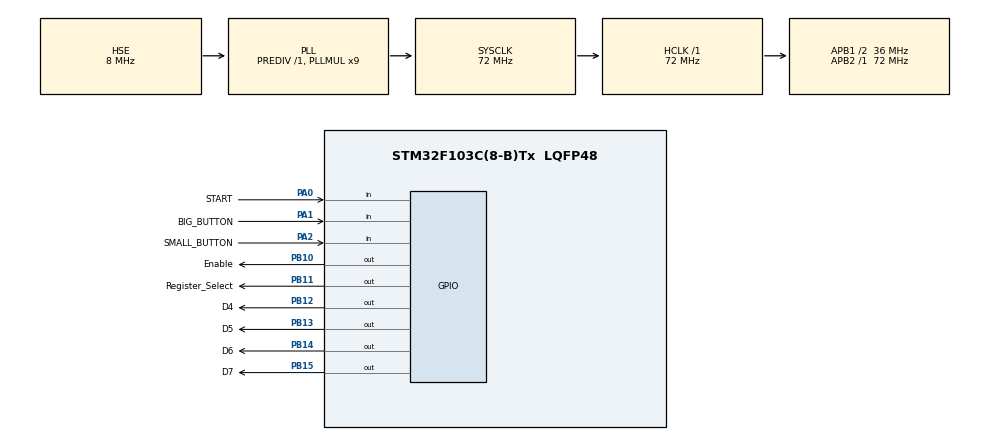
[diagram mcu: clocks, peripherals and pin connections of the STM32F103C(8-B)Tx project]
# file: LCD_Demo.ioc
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Mcu.Family=STM32F1
Mcu.Name=STM32F103C(8-B)Tx
Mcu.Package=LQFP48
NVIC.PriorityGroup=NVIC_PRIORITYGROUP_4
PA0-WKUP.GPIO_Label=START
PA0-WKUP.Signal=GPIO_Input
PA1.GPIO_Label=BIG_BUTTON
PA1.Signal=GPIO_Input
PA13.Mode=Serial_Wire
PA13.Signal=SYS_JTMS-SWDIO
PA14.Mode=Serial_Wire
PA14.Signal=SYS_JTCK-SWCLK
PA2.GPIO_Label=SMALL_BUTTON
PA2.Signal=GPIO_Input
PB10.GPIO_Label=Enable
PB10.Signal=GPIO_Output
PB11.GPIO_Label=Register_Select
PB11.Signal=GPIO_Output
PB12.GPIO_Label=D4
PB12.Signal=GPIO_Output
PB13.GPIO_Label=D5
PB13.Signal=GPIO_Output
PB14.GPIO_Label=D6
PB14.Signal=GPIO_Output
PB15.GPIO_Label=D7
PB15.Signal=GPIO_Output
PD0-OSC_IN.Mode=HSE-External-Oscillator
PD0-OSC_IN.Signal=RCC_OSC_IN
PD1-OSC_OUT.Mode=HSE-External-Oscillator
PD1-OSC_OUT.Signal=RCC_OSC_OUT
ProjectManager.HeapSize=0x200
ProjectManager.StackSize=0x400
ProjectManager.TargetToolchain=EWARM V8.32
RCC.AHBFreq_Value=72000000
RCC.APB1CLKDivider=RCC_HCLK_DIV2
RCC.APB1Freq_Value=36000000
RCC.APB1TimFreq_Value=72000000
RCC.APB2Freq_Value=72000000
RCC.APB2TimFreq_Value=72000000
RCC.HCLKFreq_Value=72000000
RCC.PLLMUL=RCC_PLL_MUL9
RCC.PLLSourceVirtual=RCC_PLLSOURCE_HSE
RCC.SYSCLKFreq_VALUE=72000000
RCC.SYSCLKSource=RCC_SYSCLKSOURCE_PLLCLK
RCC.USBFreq_Value=72000000
board=custom

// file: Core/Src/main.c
/* USER CODE BEGIN Header */
/**
  ******************************************************************************
  * @file           : main.c
  * @brief          : Main program body
  ******************************************************************************
  * @attention
  *
  * Copyright (c) 2026 STMicroelectronics.
  * All rights reserved.
  *
  * This software is licensed under terms that can be found in the LICENSE file
  * in the root directory of this software component.
  * If no LICENSE file comes with this software, it is provided AS-IS.
  *
  ******************************************************************************
  */
/* USER CODE END Header */
#include "main.h"

/* USER CODE BEGIN PV */

typedef enum
{
    SC_WELCOME,
    SC_INTRO,
    SC_SECRET,
    SC_PLAY_Q,
    SC_PLAY_BIG,
    SC_PLAY_SMALL,
    SC_FRIEND_Q,
    SC_FRIEND_A,
    SC_FRIEND_B,
    SC_FEEL_Q,
    SC_FEEL_A,
    SC_FEEL_B,
    SC_PROV_Q,
    SC_PROV_A,
    SC_PROV_B,
    SC_LOVE_Q,
    SC_LOVE_A,
    SC_LOVE_B,
    SC_GROW_Q,
    SC_GROW_A,
    SC_GROW_B,
    SC_LETTER_1,
    SC_LETTER_2,
    SC_LETTER_3,
    SC_ENDING,
    SC_COUNT
} AppScreen;

typedef struct
{
    const char *line1;
    const char *line2;
    AppScreen on_start;
    AppScreen on_big;
    AppScreen on_small;
} StoryScene;

static AppScreen current_screen = SC_WELCOME;
static int16_t rendered_screen = -1;

/* USER CODE END PV */

void SystemClock_Config(void);
static void MX_GPIO_Init(void);

/* USER CODE BEGIN PFP */

static void App_Init(void);
static void App_Update(void);

/* USER CODE END PFP */

/* USER CODE BEGIN 0 */

/* ================= LCD 1602 DRIVER =================
   Interface : 4-bit
   RS        : Register_Select_Pin
   E         : Enable_Pin
   D4-D7     : D4_Pin to D7_Pin
   =================================================== */

static void LCD_PulseEnable(void)
{
    HAL_GPIO_WritePin(GPIOB, Enable_Pin, GPIO_PIN_SET);
    HAL_Delay(1);

    HAL_GPIO_WritePin(GPIOB, Enable_Pin, GPIO_PIN_RESET);
    HAL_Delay(1);
}

static void LCD_WriteNibble(uint8_t nibble)
{
    HAL_GPIO_WritePin(GPIOB, D4_Pin,
        (nibble & 0x01U) ? GPIO_PIN_SET : GPIO_PIN_RESET);

    HAL_GPIO_WritePin(GPIOB, D5_Pin,
        (nibble & 0x02U) ? GPIO_PIN_SET : GPIO_PIN_RESET);

    HAL_GPIO_WritePin(GPIOB, D6_Pin,
        (nibble & 0x04U) ? GPIO_PIN_SET : GPIO_PIN_RESET);

    HAL_GPIO_WritePin(GPIOB, D7_Pin,
        (nibble & 0x08U) ? GPIO_PIN_SET : GPIO_PIN_RESET);

    LCD_PulseEnable();
}

static void LCD_WriteByte(uint8_t value, uint8_t is_data)
{
    HAL_GPIO_WritePin(GPIOB, Register_Select_Pin,
        is_data ? GPIO_PIN_SET : GPIO_PIN_RESET);

    LCD_WriteNibble((value >> 4U) & 0x0FU);
    LCD_WriteNibble(value & 0x0FU);
}

static void LCD_Command(uint8_t command)
{
    LCD_WriteByte(command, 0U);

    if (command == 0x01U || command == 0x02U)
    {
        HAL_Delay(2);
    }
}

static void LCD_Data(uint8_t data)
{
    LCD_WriteByte(data, 1U);
}

static void LCD_Init(void)
{
    HAL_Delay(50);

    HAL_GPIO_WritePin(GPIOB, Enable_Pin, GPIO_PIN_RESET);
    HAL_GPIO_WritePin(GPIOB, Register_Select_Pin, GPIO_PIN_RESET);

    /* HD44780 initialisation sequence */
    LCD_WriteNibble(0x03U);
    HAL_Delay(5);

    LCD_WriteNibble(0x03U);
    HAL_Delay(2);

    LCD_WriteNibble(0x03U);
    HAL_Delay(2);

    LCD_WriteNibble(0x02U);

    /* 4-bit mode, 2 lines, 5x8 font */
    LCD_Command(0x28U);

    /* Display ON, cursor OFF, blink OFF */
    LCD_Command(0x0CU);

    /* Cursor increments, display does not shift */
    LCD_Command(0x06U);

    /* Clear display */
    LCD_Command(0x01U);
}

static void LCD_SetCursor(uint8_t column, uint8_t row)
{
    uint8_t address = (row == 0U) ? 0x00U : 0x40U;

    if (column > 15U)
        column = 15U;

    LCD_Command(0x80U | (address + column));
}

static void LCD_Print(const char *text)
{
    while (*text != '\0')
    {
        LCD_Data((uint8_t)*text++);
    }
}

static void LCD_PrintLine(uint8_t row, const char *text)
{
    uint8_t count = 0U;

    LCD_SetCursor(0U, row);

    while (*text != '\0' && count < 16U)
    {
        LCD_Data((uint8_t)*text++);
        count++;
    }

    while (count < 16U)
    {
        LCD_Data(' ');
        count++;
    }
}

static void LCD_ShowSlide(const char *title,
                          const char *subtitle,
                          uint32_t duration_ms)
{
    LCD_PrintLine(0U, title);
    LCD_PrintLine(1U, subtitle);

    HAL_Delay(duration_ms);
}

/* USER CODE END 0 */

int main(void)
{

  /* MCU Configuration--------------------------------------------------------*/

  /* Reset of all peripherals, Initializes the Flash interface and the Systick. */
  HAL_Init();

  /* Configure the system clock */
  SystemClock_Config();

  /* Initialize all configured peripherals */
  MX_GPIO_Init();

/* USER CODE BEGIN 2 */

LCD_Init();
App_Init();

/* USER CODE END 2 */

  /* Infinite loop */
  while (1)
  {

    /* USER CODE BEGIN 3 */
    App_Update();
  }
  /* USER CODE END 3 */
}

void SystemClock_Config(void)
{
  RCC_OscInitTypeDef RCC_OscInitStruct = {0};
  RCC_ClkInitTypeDef RCC_ClkInitStruct = {0};

  /** Initializes the RCC Oscillators according to the specified parameters
  * in the RCC_OscInitTypeDef structure.
  */
  RCC_OscInitStruct.OscillatorType = RCC_OSCILLATORTYPE_HSE;
  RCC_OscInitStruct.HSEState = RCC_HSE_ON;
  RCC_OscInitStruct.HSEPredivValue = RCC_HSE_PREDIV_DIV1;
  RCC_OscInitStruct.HSIState = RCC_HSI_ON;
  RCC_OscInitStruct.PLL.PLLState = RCC_PLL_ON;
  RCC_OscInitStruct.PLL.PLLSource = RCC_PLLSOURCE_HSE;
  RCC_OscInitStruct.PLL.PLLMUL = RCC_PLL_MUL9;
  if (HAL_RCC_OscConfig(&RCC_OscInitStruct) != HAL_OK)
  {
    Error_Handler();
  }

  /** Initializes the CPU, AHB and APB buses clocks
  */
  RCC_ClkInitStruct.ClockType = RCC_CLOCKTYPE_HCLK|RCC_CLOCKTYPE_SYSCLK
                              |RCC_CLOCKTYPE_PCLK1|RCC_CLOCKTYPE_PCLK2;
  RCC_ClkInitStruct.SYSCLKSource = RCC_SYSCLKSOURCE_PLLCLK;
  RCC_ClkInitStruct.AHBCLKDivider = RCC_SYSCLK_DIV1;
  RCC_ClkInitStruct.APB1CLKDivider = RCC_HCLK_DIV2;
  RCC_ClkInitStruct.APB2CLKDivider = RCC_HCLK_DIV1;

  if (HAL_RCC_ClockConfig(&RCC_ClkInitStruct, FLASH_LATENCY_2) != HAL_OK)
  {
    Error_Handler();
  }
}

static void MX_GPIO_Init(void)
{
  GPIO_InitTypeDef GPIO_InitStruct = {0};

  /* GPIO Ports Clock Enable */
  __HAL_RCC_GPIOD_CLK_ENABLE();
  __HAL_RCC_GPIOA_CLK_ENABLE();
  __HAL_RCC_GPIOB_CLK_ENABLE();

  /*Configure GPIO pin Output Level */
  HAL_GPIO_WritePin(GPIOB, Enable_Pin|Register_Select_Pin|D4_Pin|D5_Pin
                          |D6_Pin|D7_Pin, GPIO_PIN_RESET);

  /*Configure GPIO pins : START_Pin BIG_BUTTON_Pin SMALL_BUTTON_Pin */
  GPIO_InitStruct.Pin = START_Pin|BIG_BUTTON_Pin|SMALL_BUTTON_Pin;
  GPIO_InitStruct.Mode = GPIO_MODE_INPUT;
  GPIO_InitStruct.Pull = GPIO_NOPULL;
  HAL_GPIO_Init(GPIOA, &GPIO_InitStruct);

  /*Configure GPIO pins : Enable_Pin Register_Select_Pin D4_Pin D5_Pin
                           D6_Pin D7_Pin */
  GPIO_InitStruct.Pin = Enable_Pin|Register_Select_Pin|D4_Pin|D5_Pin
                          |D6_Pin|D7_Pin;
  GPIO_InitStruct.Mode = GPIO_MODE_OUTPUT_PP;
  GPIO_InitStruct.Pull = GPIO_NOPULL;
  GPIO_InitStruct.Speed = GPIO_SPEED_FREQ_LOW;
  HAL_GPIO_Init(GPIOB, &GPIO_InitStruct);

}

/* USER CODE BEGIN 4 */

typedef struct
{
    GPIO_PinState raw_state;
    GPIO_PinState stable_state;
    uint32_t last_change;
} ButtonState;

static ButtonState start_btn;
static ButtonState big_btn;
static ButtonState small_btn;

#define BUTTON_DEBOUNCE_MS 25U

static void Button_InitState(ButtonState *button)
{
    button->raw_state = GPIO_PIN_SET;
    button->stable_state = GPIO_PIN_SET;
    button->last_change = HAL_GetTick();
}

/* Returns 1 once for each debounced press. */
static uint8_t Button_Pressed(GPIO_TypeDef *port,
                             uint16_t pin,
                             ButtonState *button)
{
    GPIO_PinState reading = HAL_GPIO_ReadPin(port, pin);
    uint32_t now = HAL_GetTick();

    if (reading != button->raw_state)
    {
        button->raw_state = reading;
        button->last_change = now;
    }

    if ((now - button->last_change) >= BUTTON_DEBOUNCE_MS)
    {
        if (button->stable_state != button->raw_state)
        {
            button->stable_state = button->raw_state;

            if (button->stable_state == GPIO_PIN_RESET)
            {
                return 1U;
            }
        }
    }

    return 0U;
}

static void App_Init(void)
{
    Button_InitState(&start_btn);
    Button_InitState(&big_btn);
    Button_InitState(&small_btn);

    current_screen = SC_WELCOME;
    rendered_screen = -1;
}

/* Story scenes: each button can lead somewhere different. */

#define STAY SC_COUNT

static const StoryScene story[SC_COUNT] =
{
    [SC_WELCOME] = {
        "FOR MY AJIKE <3", "START OUR STORY",
        SC_INTRO, STAY, STAY
    },

    [SC_INTRO] = {
        "5 MONTHS, BABE", "BIG=SECRET S=GO",
        SC_PLAY_Q, SC_SECRET, SC_PLAY_Q
    },

    [SC_SECRET] = {
        "YOU FOUND IT!", "I LOVE YOU. YES!",
        SC_PLAY_Q, SC_PLAY_Q, SC_PLAY_Q
    },

    [SC_PLAY_Q] = {
        "WHO IS THE BABY?", "BIG=ME S=YOU",
        SC_FRIEND_Q, SC_PLAY_BIG, SC_PLAY_SMALL
    },

    [SC_PLAY_BIG] = {
        "CORRECT. OBV.!", "YOU KNOWWWWW",
        SC_FRIEND_Q, SC_SECRET, SC_FRIEND_Q
    },

    [SC_PLAY_SMALL] = {
        "NICE TRY, BABE", "I'LL ALLOW IT :)",
        SC_FRIEND_Q, SC_FRIEND_Q, SC_SECRET
    },

    [SC_FRIEND_Q] = {
        "WHERE IT STARTED", "BIG=WHERE S=WHEN",
        SC_FEEL_Q, SC_FRIEND_A, SC_FRIEND_B
    },

    [SC_FRIEND_A] = {
        "KINGDOM SUMMIT", "WHERE IT BEGAN",
        SC_FEEL_Q, SC_FRIEND_B, SC_FEEL_Q
    },

    [SC_FRIEND_B] = {
        "NOT A BIG BANG", "JUST A SPRINKLE",
        SC_FEEL_Q, SC_FRIEND_A, SC_FEEL_Q
    },

    [SC_FEEL_Q] = {
        "THE 7 MONTHS B4?", "BIG=WHY S=WHEN",
        SC_PROV_Q, SC_FEEL_A, SC_FEEL_B
    },

    [SC_FEEL_A] = {
        "WANTED TO KNOW", "YOU FIRST, AJIKE",
        SC_PROV_Q, SC_FEEL_B, SC_PROV_Q
    },

    [SC_FEEL_B] = {
        "ALONG CAME YMR..", "I GOT HELPLESS",
        SC_PROV_Q, SC_FEEL_A, SC_PROV_Q
    },

    [SC_PROV_Q] = {
        "WHO GETS CREDIT?", "BIG=GOD S=GOD",
        SC_LOVE_Q, SC_PROV_A, SC_PROV_B
    },

    [SC_PROV_A] = {
        "GOD, OBVIOUSLY", "& HE'S NOT DONE",
        SC_LOVE_Q, SC_PROV_B, SC_LOVE_Q
    },

    [SC_PROV_B] = {
        "SUMMIT TO NOW,", "IT WAS ALL HIM",
        SC_LOVE_Q, SC_PROV_A, SC_LOVE_Q
    },

    [SC_LOVE_Q] = {
        "WHAT I LOVE...", "BIG=EYES S=HANDS",
        SC_GROW_Q, SC_LOVE_A, SC_LOVE_B
    },

    [SC_LOVE_A] = {
        "CRYSTAL CLEAR", "JUST RIGHT SIZE",
        SC_GROW_Q, SC_LOVE_B, SC_GROW_Q
    },

    [SC_LOVE_B] = {
        "THOSE FINGERS...", "STILL OBSESSED",
        SC_GROW_Q, SC_LOVE_A, SC_GROW_Q
    },

    [SC_GROW_Q] = {
        "NOW, THE BRAIN", "BIG=HSBS S=LOBE",
        SC_LETTER_1, SC_GROW_A, SC_GROW_B
    },

    [SC_GROW_A] = {
        "HOLY SPIRIT", "BACKED SCHOLAR",
        SC_LETTER_1, SC_GROW_B, SC_LETTER_1
    },

    [SC_GROW_B] = {
        "BIG FRONTAL LOBE", "RUNS THE GLOBE",
        SC_LETTER_1, SC_GROW_A, SC_LETTER_1
    },

    [SC_LETTER_1] = {
        "*WINKS*", "YOU EYE-ROLL :)",
        SC_LETTER_2, SC_LETTER_2, SC_LETTER_2
    },

    [SC_LETTER_2] = {
        "STILL HELPLESS", "AND LOVING IT",
        SC_LETTER_3, SC_LETTER_3, SC_LETTER_3
    },

    [SC_LETTER_3] = {
        "SO, BABY GIRL...", "ONE LAST THING:",
        SC_ENDING, SC_ENDING, SC_ENDING
    },

    [SC_ENDING] = {
        "LOVE YOU MI NENA", "NOW COME HUG ME",
        SC_WELCOME, SC_WELCOME, SC_WELCOME
    }
};

static void App_Update(void)
{
    uint8_t start_pressed = Button_Pressed(
        START_GPIO_Port, START_Pin, &start_btn);

    uint8_t big_pressed = Button_Pressed(
        BIG_BUTTON_GPIO_Port, BIG_BUTTON_Pin, &big_btn);

    uint8_t small_pressed = Button_Pressed(
        SMALL_BUTTON_GPIO_Port, SMALL_BUTTON_Pin, &small_btn);

    /* Draw each scene once, on entry. */
    if (rendered_screen != (int16_t)current_screen)
    {
        LCD_PrintLine(0U, story[current_screen].line1);
        LCD_PrintLine(1U, story[current_screen].line2);

        rendered_screen = (int16_t)current_screen;
    }

    /* One press produces at most one scene transition. */
    if (start_pressed)
    {
        if (story[current_screen].on_start != STAY)
            current_screen = story[current_screen].on_start;
    }
    else if (big_pressed)
    {
        if (story[current_screen].on_big != STAY)
            current_screen = story[current_screen].on_big;
    }
    else if (small_pressed)
    {
        if (story[current_screen].on_small != STAY)
            current_screen = story[current_screen].on_small;
    }
}

/* End story application */

/* USER CODE END 4 */

void Error_Handler(void)
{
  __disable_irq();
  while (1)
  {
  }
}
